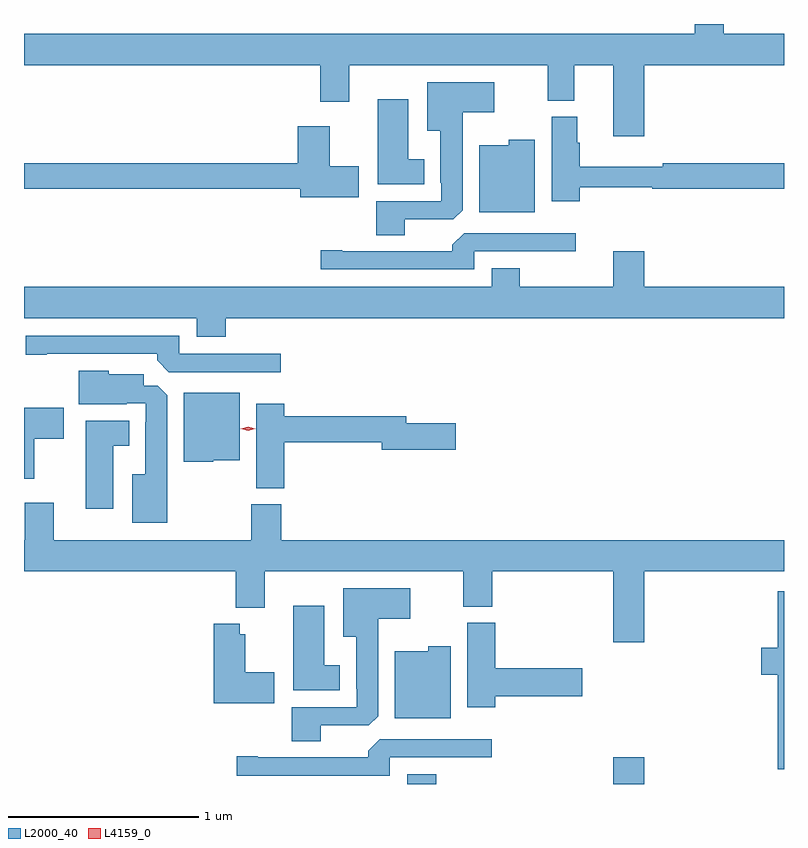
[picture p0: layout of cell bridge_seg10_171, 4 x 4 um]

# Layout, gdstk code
import gdstk
lib = gdstk.Library(unit=1e-6, precision=1e-09)
def R(c, l, rs):  # rectangles x0, y0, x1, y1
    for r in rs: c.add(gdstk.rectangle(r[:2], r[2:], *l))
def P(c, l, *ps):  # polygons
    for p in ps: c.add(gdstk.Polygon(p, *l))
L2000_40 = (2000, 40)
L4159_0 = (4159, 0)

bridge_seg10_171 = lib.new_cell('bridge_seg10_171')
R(bridge_seg10_171, L2000_40, [(223.865,1288.54,224.018,1288.591), (224.948,1288.54,225.112,1288.681)])
P(bridge_seg10_171, L2000_40, [(225.112,1292.324),(225.847,1292.324),(225.847,1292.488),(225.529,1292.488),(225.529,1292.54),(225.377,1292.54),(225.377,1292.488),(221.847,1292.488),(221.847,1292.324),(223.406,1292.324),(223.406,1292.13),(223.558,1292.13),(223.558,1292.324),(224.603,1292.324),(224.603,1292.137),(224.743,1292.137),(224.743,1292.324),(224.948,1292.324),(224.948,1291.95),(225.112,1291.95)],
  [(223.852,1291.512),(224.106,1291.512),(224.155,1291.561),(224.155,1292.075),(224.323,1292.075),(224.323,1292.233),(223.97,1292.233),(223.97,1291.979),(224.039,1291.979),(224.039,1291.705),(224.043,1291.705),(224.043,1291.608),(223.7,1291.608),(223.7,1291.429),(223.852,1291.429)],
  [(223.954,1291.828),(223.87,1291.828),(223.87,1292.143),(223.709,1292.143),(223.709,1291.697),(223.954,1291.697)],
  [(224.771,1291.68),(225.154,1291.68),(225.154,1291.672),(225.847,1291.672),(225.847,1291.808),(225.208,1291.808),(225.208,1291.789),(224.771,1291.789),(224.771,1291.916),(224.758,1291.916),(224.758,1292.052),(224.624,1292.052),(224.624,1291.608),(224.771,1291.608)],
  [(223.609,1291.791),(223.456,1291.791),(223.456,1292.002),(223.289,1292.002),(223.289,1291.808),(221.847,1291.808),(221.847,1291.672),(223.301,1291.672),(223.301,1291.628),(223.609,1291.628)],
  [(224.536,1291.93),(224.397,1291.93),(224.397,1291.903),(224.243,1291.903),(224.243,1291.55),(224.536,1291.55)],
  [(224.217,1291.344),(224.752,1291.344),(224.752,1291.44),(224.163,1291.44),(224.102,1291.378),(224.102,1291.344),(223.522,1291.344),(223.522,1291.349),(223.41,1291.349),(223.41,1291.248),(224.217,1291.248)],
  [(222.908,1290.992),(225.847,1290.992),(225.847,1291.156),(225.112,1291.156),(225.112,1291.345),(224.948,1291.345),(224.948,1291.156),(224.457,1291.156),(224.457,1291.255),(224.309,1291.255),(224.309,1291.156),(221.847,1291.156),(221.847,1290.992),(222.755,1290.992),(222.755,1290.893),(222.908,1290.893)],
  [(223.198,1290.804),(222.663,1290.804),(222.663,1290.9),(221.856,1290.9),(221.856,1290.799),(221.968,1290.799),(221.968,1290.804),(222.548,1290.804),(222.548,1290.77),(222.609,1290.708),(223.198,1290.708)],
  [(222.601,1290.587),(222.552,1290.636),(222.478,1290.636),(222.478,1290.697),(222.294,1290.697),(222.294,1290.715),(222.134,1290.715),(222.134,1290.539),(222.389,1290.539),(222.389,1290.543),(222.489,1290.543),(222.489,1290.443),(222.485,1290.443),(222.485,1290.169),(222.416,1290.169),(222.416,1289.915),(222.601,1289.915)],
  [(222.843,1290.245),(222.982,1290.245),(222.982,1290.598),(222.689,1290.598),(222.689,1290.236),(222.843,1290.236)],
  [(223.217,1290.34),(223.73,1290.34),(223.73,1290.298),(224.119,1290.298),(224.119,1290.44),(223.858,1290.44),(223.858,1290.476),(223.217,1290.476),(223.217,1290.541),(223.07,1290.541),(223.07,1290.097),(223.217,1290.097)],
  [(221.902,1290.358),(222.055,1290.358),(222.055,1290.52),(221.847,1290.52),(221.847,1290.147),(221.902,1290.147)],
  [(222.316,1290.32),(222.4,1290.32),(222.4,1290.451),(222.173,1290.451),(222.173,1289.988),(222.316,1289.988)],
  [(225.112,1289.66),(225.847,1289.66),(225.847,1289.824),(223.202,1289.824),(223.202,1290.012),(223.042,1290.012),(223.042,1289.824),(222.004,1289.824),(222.004,1290.019),(221.852,1290.019),(221.852,1289.824),(221.847,1289.824),(221.847,1289.66),(222.962,1289.66),(222.962,1289.468),(223.114,1289.468),(223.114,1289.66),(224.159,1289.66),(224.159,1289.473),(224.312,1289.473),(224.312,1289.66),(224.948,1289.66),(224.948,1289.286),(225.112,1289.286)],
  [(223.408,1288.848),(223.662,1288.848),(223.711,1288.897),(223.711,1289.411),(223.879,1289.411),(223.879,1289.569),(223.526,1289.569),(223.526,1289.315),(223.595,1289.315),(223.595,1289.041),(223.599,1289.041),(223.599,1288.944),(223.256,1288.944),(223.256,1288.765),(223.408,1288.765)],
  [(225.847,1289.554),(225.814,1289.554),(225.814,1289.256),(225.728,1289.256),(225.728,1289.114),(225.814,1289.114),(225.814,1288.617),(225.847,1288.617)],
  [(223.51,1289.164),(223.426,1289.164),(223.426,1289.479),(223.265,1289.479),(223.265,1289.033),(223.51,1289.033)],
  [(224.327,1289.003),(224.785,1289.003),(224.785,1289.15),(224.327,1289.15),(224.327,1289.388),(224.18,1289.388),(224.18,1288.944),(224.327,1288.944)],
  [(223.165,1289.127),(223.012,1289.127),(223.012,1289.329),(222.982,1289.329),(222.982,1289.383),(222.845,1289.383),(222.845,1288.964),(223.165,1288.964)],
  [(224.092,1289.266),(223.974,1289.266),(223.974,1289.239),(223.799,1289.239),(223.799,1288.886),(224.092,1288.886)],
  [(223.773,1288.68),(224.308,1288.68),(224.308,1288.776),(223.719,1288.776),(223.658,1288.714),(223.658,1288.68),(223.078,1288.68),(223.078,1288.685),(222.966,1288.685),(222.966,1288.584),(223.773,1288.584)])
P(bridge_seg10_171, L4159_0, [(223.027,1290.4),(222.989,1290.409),(222.989,1290.409),(222.989,1290.409),(223.027,1290.42),(223.065,1290.41),(223.065,1290.41),(223.065,1290.41)])

lib.write_gds('bridge_seg10_171.gds')
